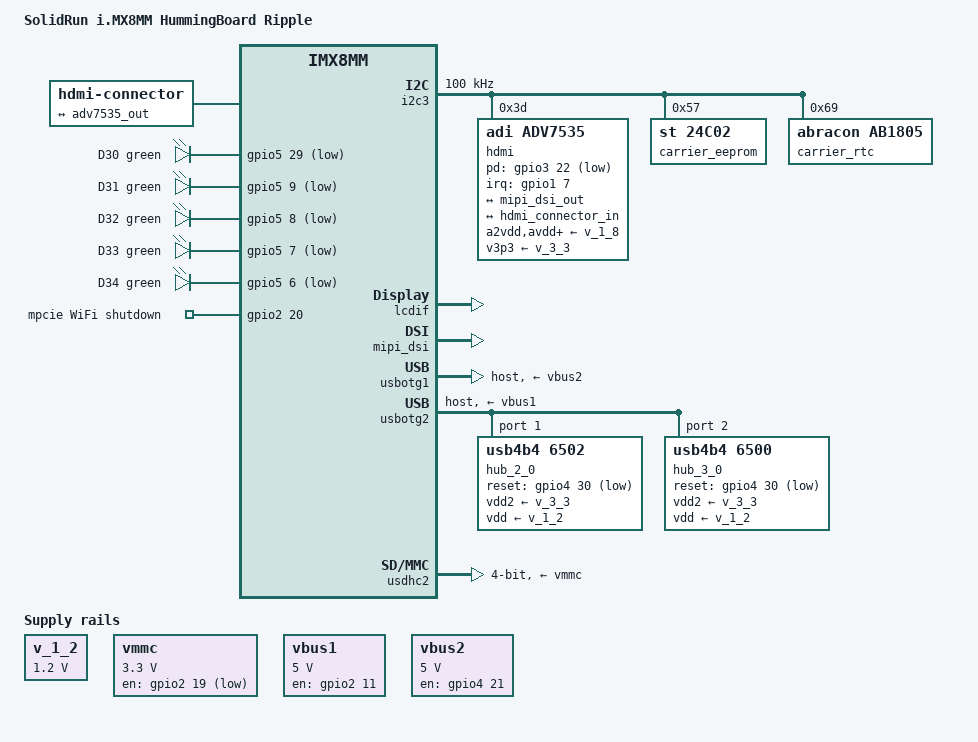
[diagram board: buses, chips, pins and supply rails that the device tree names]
// SPDX-License-Identifier: (GPL-2.0+ OR MIT)
/*
 * Copyright 2025 Josua Mayer <josua@solid-run.com>
 */

/dts-v1/;

#include <dt-bindings/leds/common.h>

#include "imx8mm-sr-som.dtsi"

/ {
	compatible = "solidrun,imx8mm-hummingboard-ripple",
		     "solidrun,imx8mm-sr-som", "fsl,imx8mm";
	model = "SolidRun i.MX8MM HummingBoard Ripple";

	aliases {
		rtc0 = &carrier_rtc;
		rtc1 = &snvs_rtc;
	};

	hdmi-connector {
		compatible = "hdmi-connector";
		label = "hdmi";
		type = "c";

		port {
			hdmi_connector_in: endpoint {
				remote-endpoint = <&adv7535_out>;
			};
		};
	};

	leds {
		compatible = "gpio-leds";
		pinctrl-0 = <&led_pins>;
		pinctrl-names = "default";

		led-0 {
			color = <LED_COLOR_ID_GREEN>;
			default-state = "on";
			gpios = <&gpio5 29 GPIO_ACTIVE_LOW>;
			label = "D30";
		};

		led-1 {
			color = <LED_COLOR_ID_GREEN>;
			default-state = "on";
			gpios = <&gpio5 9 GPIO_ACTIVE_LOW>;
			label = "D31";
		};

		led-2 {
			color = <LED_COLOR_ID_GREEN>;
			default-state = "on";
			gpios = <&gpio5 8 GPIO_ACTIVE_LOW>;
			label = "D32";
		};

		led-3 {
			color = <LED_COLOR_ID_GREEN>;
			default-state = "on";
			gpios = <&gpio5 7 GPIO_ACTIVE_LOW>;
			label = "D33";
		};

		led-4 {
			color = <LED_COLOR_ID_GREEN>;
			default-state = "on";
			gpios = <&gpio5 6 GPIO_ACTIVE_LOW>;
			label = "D34";
		};
	};

	v_1_2: regulator-1-2 {
		compatible = "regulator-fixed";
		regulator-name = "1v2";
		regulator-max-microvolt = <1200000>;
		regulator-min-microvolt = <1200000>;
	};

	vmmc: regulator-mmc {
		compatible = "regulator-fixed";
		regulator-name = "vmmc";
		pinctrl-0 = <&vmmc_pins>;
		pinctrl-names = "default";
		regulator-max-microvolt = <3300000>;
		regulator-min-microvolt = <3300000>;
		startup-delay-us = <250>;
		gpio = <&gpio2 19 GPIO_ACTIVE_LOW>;
	};

	vbus1: regulator-vbus-1 {
		compatible = "regulator-fixed";
		regulator-name = "vbus1";
		pinctrl-0 = <&vbus1_pins>;
		pinctrl-names = "default";
		regulator-max-microvolt = <5000000>;
		regulator-min-microvolt = <5000000>;
		gpio = <&gpio2 11 GPIO_ACTIVE_HIGH>;
		enable-active-high;
	};

	vbus2: regulator-vbus-2 {
		compatible = "regulator-fixed";
		regulator-name = "vbus2";
		pinctrl-0 = <&vbus2_pins>;
		pinctrl-names = "default";
		regulator-max-microvolt = <5000000>;
		regulator-min-microvolt = <5000000>;
		gpio = <&gpio4 21 GPIO_ACTIVE_HIGH>;
		enable-active-high;
	};

	rfkill-mpcie-wifi {
		compatible = "rfkill-gpio";
		/* rfkill-gpio inverts internally */
		shutdown-gpios = <&gpio2 20 GPIO_ACTIVE_HIGH>;
		label = "mpcie WiFi";
		pinctrl-0 = <&pcie_rfkill_pins>;
		pinctrl-names = "default";
		radio-type = "wlan";
	};
};

&i2c3 {
	clock-frequency = <100000>;
	pinctrl-0 = <&i2c3_pins>;
	pinctrl-names = "default";
	status = "okay";

	hdmi@3d {
		compatible = "adi,adv7535";
		reg = <0x3d>, <0x3f>, <0x3c>, <0x38>;
		reg-names = "main", "edid", "cec", "packet";
		interrupt-parent = <&gpio1>;
		interrupts = <7 IRQ_TYPE_EDGE_FALLING>;
		a2vdd-supply = <&v_1_8>;
		avdd-supply = <&v_1_8>;
		dvdd-supply = <&v_1_8>;
		pd-gpios = <&gpio3 22 GPIO_ACTIVE_LOW>;
		pinctrl-0 = <&hdmi_pins>;
		pinctrl-names = "default";
		pvdd-supply = <&v_1_8>;
		v3p3-supply = <&v_3_3>;
		adi,dsi-lanes = <4>;

		ports {
			#address-cells = <1>;
			#size-cells = <0>;

			port@0 {
				reg = <0>;

				adv7535_from_dsim: endpoint {
					remote-endpoint = <&mipi_dsi_out>;
				};
			};

			port@1 {
				reg = <1>;

				adv7535_out: endpoint {
					remote-endpoint = <&hdmi_connector_in>;
				};
			};
		};
	};

	carrier_eeprom: eeprom@57 {
		compatible = "st,24c02", "atmel,24c02";
		reg = <0x57>;
		pagesize = <16>;
	};

	carrier_rtc: rtc@69 {
		compatible = "abracon,ab1805";
		reg = <0x69>;
		abracon,tc-diode = "schottky";
		abracon,tc-resistor = <3>;
	};
};

&iomuxc {
	hdmi_pins: pinctrl-hdmi-grp {
		fsl,pins = <
			MX8MM_IOMUXC_GPIO1_IO07_GPIO1_IO7	0x0
			MX8MM_IOMUXC_SAI5_RXD1_GPIO3_IO22	0x0
		>;
	};

	i2c3_pins: pinctrl-i2c3-grp {
		fsl,pins = <
			MX8MM_IOMUXC_I2C3_SCL_I2C3_SCL		0x400001c3
			MX8MM_IOMUXC_I2C3_SDA_I2C3_SDA		0x400001c3
		>;
	};

	led_pins: pinctrl-led-grp {
		fsl,pins = <
			MX8MM_IOMUXC_UART4_TXD_GPIO5_IO29	0x0
			MX8MM_IOMUXC_ECSPI1_SS0_GPIO5_IO9	0x0
			MX8MM_IOMUXC_ECSPI1_MISO_GPIO5_IO8	0x0
			MX8MM_IOMUXC_ECSPI1_MOSI_GPIO5_IO7	0x0
			MX8MM_IOMUXC_ECSPI1_SCLK_GPIO5_IO6	0x0
		>;
	};

	pcie_rfkill_pins: pinctrl-pcie-rfkill-grp {
		fsl,pins = <
			MX8MM_IOMUXC_SD2_WP_GPIO2_IO20		0x0
		>;
	};

	usb_hub_pins: pinctrl-usb-hub-grp {
		fsl,pins = <
			MX8MM_IOMUXC_SAI3_RXD_GPIO4_IO30	0x0
		>;
	};

	usdhc2_100mhz_pins: pinctrl-usdhc2-100mhz-grp {
		fsl,pins = <
			MX8MM_IOMUXC_SD2_CLK_USDHC2_CLK		0x194
			MX8MM_IOMUXC_SD2_CMD_USDHC2_CMD		0x1d4
			MX8MM_IOMUXC_SD2_DATA0_USDHC2_DATA0	0x1d4
			MX8MM_IOMUXC_SD2_DATA1_USDHC2_DATA1	0x1d4
			MX8MM_IOMUXC_SD2_DATA2_USDHC2_DATA2	0x1d4
			MX8MM_IOMUXC_SD2_DATA3_USDHC2_DATA3	0x1d4
			MX8MM_IOMUXC_GPIO1_IO04_USDHC2_VSELECT	0x140
			MX8MM_IOMUXC_SD2_CD_B_USDHC2_CD_B	0x0
		>;
	};

	usdhc2_200mhz_pins: pinctrl-usdhc2-100mhz-grp {
		fsl,pins = <
			MX8MM_IOMUXC_SD2_CLK_USDHC2_CLK		0x196
			MX8MM_IOMUXC_SD2_CMD_USDHC2_CMD		0x1d6
			MX8MM_IOMUXC_SD2_DATA0_USDHC2_DATA0	0x1d6
			MX8MM_IOMUXC_SD2_DATA1_USDHC2_DATA1	0x1d6
			MX8MM_IOMUXC_SD2_DATA2_USDHC2_DATA2	0x1d6
			MX8MM_IOMUXC_SD2_DATA3_USDHC2_DATA3	0x1d6
			MX8MM_IOMUXC_GPIO1_IO04_USDHC2_VSELECT	0x140
			MX8MM_IOMUXC_SD2_CD_B_USDHC2_CD_B	0x0
		>;
	};

	usdhc2_pins: pinctrl-usdhc2-grp {
		fsl,pins = <
			MX8MM_IOMUXC_SD2_CLK_USDHC2_CLK		0x190
			MX8MM_IOMUXC_SD2_CMD_USDHC2_CMD		0x1d0
			MX8MM_IOMUXC_SD2_DATA0_USDHC2_DATA0	0x1d0
			MX8MM_IOMUXC_SD2_DATA1_USDHC2_DATA1	0x1d0
			MX8MM_IOMUXC_SD2_DATA2_USDHC2_DATA2	0x1d0
			MX8MM_IOMUXC_SD2_DATA3_USDHC2_DATA3	0x1d0
			MX8MM_IOMUXC_GPIO1_IO04_USDHC2_VSELECT	0x140
			MX8MM_IOMUXC_SD2_CD_B_USDHC2_CD_B	0x0
		>;
	};

	vbus1_pins: pinctrl-vbus-1-grp {
		fsl,pins = <
			MX8MM_IOMUXC_SD1_STROBE_GPIO2_IO11	0x20
		>;
	};

	vbus2_pins: pinctrl-vbus-2-grp {
		fsl,pins = <
			MX8MM_IOMUXC_SAI2_RXFS_GPIO4_IO21	0x20
		>;
	};

	vmmc_pins: pinctrl-vmmc-grp {
		fsl,pins = <
			MX8MM_IOMUXC_SD2_RESET_B_GPIO2_IO19	0x41
		>;
	};
};

&lcdif {
	status = "okay";
};

&mipi_dsi {
	samsung,esc-clock-frequency = <10000000>;
	status = "okay";
};

&mipi_dsi_out {
	remote-endpoint = <&adv7535_from_dsim>;
};

&usbotg1 {
	dr_mode = "host";
	vbus-supply = <&vbus2>;
	status = "okay";
};

&usbotg2 {
	#address-cells = <1>;
	#size-cells = <0>;
	dr_mode = "host";
	pinctrl-0 = <&usb_hub_pins>;
	pinctrl-names = "default";
	vbus-supply = <&vbus1>;
	status = "okay";

	hub_2_0: hub@1 {
		compatible = "usb4b4,6502", "usb4b4,6506";
		reg = <1>;
		peer-hub = <&hub_3_0>;
		reset-gpios = <&gpio4 30 GPIO_ACTIVE_LOW>;
		vdd2-supply = <&v_3_3>;
		vdd-supply = <&v_1_2>;
	};

	/* this device is not visible because host supports 2.0 only */
	hub_3_0: hub@2 {
		compatible = "usb4b4,6500", "usb4b4,6504";
		reg = <2>;
		peer-hub = <&hub_2_0>;
		reset-gpios = <&gpio4 30 GPIO_ACTIVE_LOW>;
		vdd2-supply = <&v_3_3>;
		vdd-supply = <&v_1_2>;
	};
};

&usdhc2 {
	bus-width = <4>;
	pinctrl-0 = <&usdhc2_pins>;
	pinctrl-1 = <&usdhc2_100mhz_pins>;
	pinctrl-2 = <&usdhc2_200mhz_pins>;
	pinctrl-names = "default", "state_100mhz", "state_200mhz";
	vmmc-supply = <&vmmc>;
	status = "okay";
};
